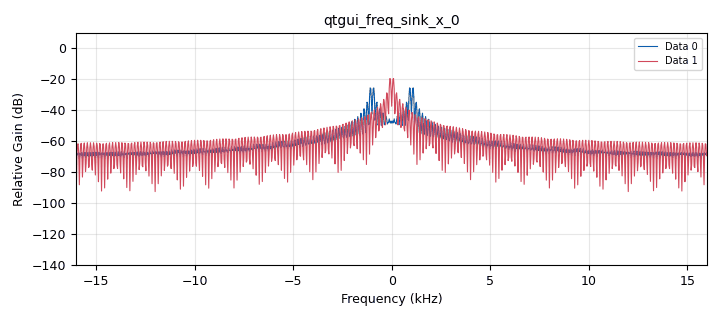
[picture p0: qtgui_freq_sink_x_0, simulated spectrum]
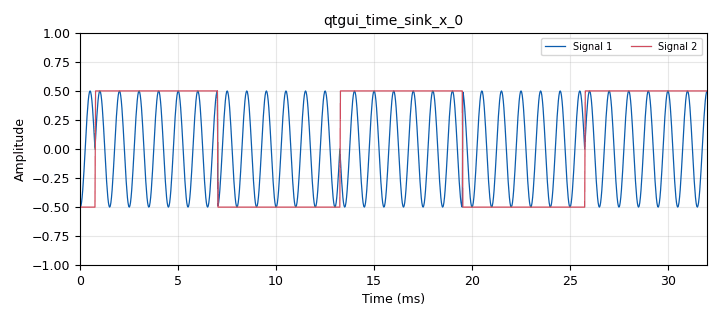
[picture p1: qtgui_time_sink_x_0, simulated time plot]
options:
  parameters:
    author: Emmanuel Estallo
    generate_options: qt_gui
    id: pskSim
    output_language: python
    title: PhaseShiftKeying
  states: {}

blocks:
- name: samp_rate
  id: variable
  parameters:
    value: '32000'
  states: {}
- name: analog_sig_source_x_0
  id: analog_sig_source_x
  parameters:
    amp: '1'
    freq: '80'
    offset: '-0.5'
    phase: '0'
    samp_rate: samp_rate
    type: float
    waveform: analog.GR_SQR_WAVE
  states: {}
- name: analog_sig_source_x_1
  id: analog_sig_source_x
  parameters:
    amp: '1'
    freq: 1e3
    offset: '0'
    phase: '0'
    samp_rate: samp_rate
    type: float
    waveform: analog.GR_COS_WAVE
  states: {}
- name: blocks_multiply_xx_0
  id: blocks_multiply_xx
  parameters:
    type: float
  states: {}
- name: blocks_throttle_0
  id: blocks_throttle
  parameters:
    samples_per_second: samp_rate
    type: float
  states: {}
- name: qtgui_freq_sink_x_0
  id: qtgui_freq_sink_x
  parameters:
    bw: samp_rate
    fc: '0'
    fftsize: '1024'
    nconnections: '2'
    type: float
    wintype: firdes.WIN_BLACKMAN_hARRIS
  states: {}
- name: qtgui_time_sink_x_0
  id: qtgui_time_sink_x
  parameters:
    nconnections: '2'
    size: '1024'
    srate: samp_rate
    type: float
  states: {}

connections:
- [analog_sig_source_x_0, '0', blocks_multiply_xx_0, '0']
- [analog_sig_source_x_0, '0', qtgui_freq_sink_x_0, '1']
- [analog_sig_source_x_0, '0', qtgui_time_sink_x_0, '1']
- [analog_sig_source_x_1, '0', blocks_multiply_xx_0, '1']
- [blocks_multiply_xx_0, '0', blocks_throttle_0, '0']
- [blocks_throttle_0, '0', qtgui_freq_sink_x_0, '0']
- [blocks_throttle_0, '0', qtgui_time_sink_x_0, '0']

metadata:
  file_format: 1
